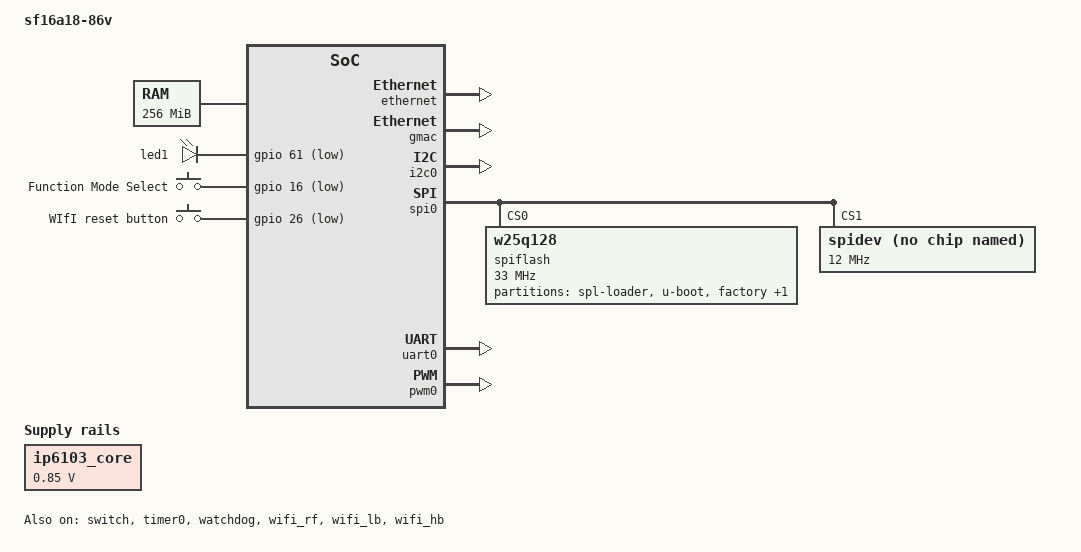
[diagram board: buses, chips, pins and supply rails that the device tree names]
/dts-v1/;

#include "sf16a18_full_mask.dtsi"

/ {
	#address-cells = <1>;
	#size-cells = <1>;
	compatible = "siflower,sf16a18-soc";

	model = "sf16a18-86v";
	memory {
		device_type = "memory";
		reg =  <0x00000000 0x10000000>;
	};
};

&ethernet {
	shutdown-portlist = "lllll";
	led-on-off-time = /bits/ 16 <0xff 0x2ff>;
	status = "okay";
};

&switch{
	sfax8,port-map = "llllw";
	status = "okay";
};

&gmac {
	status = "okay";
};

&gdma {
	status = "okay";
};

&i2c0 {
	status = "okay";
	#address-cells = <1>;
	#size-cells = <0>;
	/include/	"sf16a18_pmu.dtsi"
};
&ip6103_core{
	regulator-name = "VDD_CORE_0.9V";
	regulator-min-microvolt = <850000>;
	regulator-max-microvolt = <850000>;
	regulator-min-microamp = <3000000>;
	regulator-max-microamp = <3000000>;
	regulator-always-on;
	regulator-boot-on;
};

&leds {
	status = "okay";
	led1 {
		label = "led1";
		gpios = <&gpio 61 1>;
		default-state = "on";
	};
};

&gpio_keys {
	status = "okay";
	button1@16 {
		label = "Function Mode Select";
		/*linux,input-type = <0x5>;*/
		linux,code = <0x102>;
		gpios = <&gpio 16 1>;
		poll-interval = <10>;
		debounce-interval = <20>;
	};

	button2@26 {
		label = "WIfI reset button";
		linux,code = <0x101>;
		gpios = <&gpio 26 1>;
		poll-interval = <10>;
		debounce-interval = <20>;
	};
};

&spi0 {
	status = "okay";
	use-dma;
	dmas = <&gdma 10
	&gdma 11>;
	dma-names = "tx", "rx";

	#address-cells = <1>;
	#size-cells = <0>;

	spiflash:w25q128@0 {
		compatible = "w25q128";
		reg = <0>;	/* chip select */
		spi-max-frequency = <33000000>;

		bank-width = <2>;
		device-width = <2>;
		#address-cells = <1>;
		#size-cells = <1>;

		partition@0 {
			label = "spl-loader";
			reg = <0x0 0x8000>; /* 32k */
			read-only;
		};

		partition@8000{
			label = "u-boot";
			reg = <0x8000 0x29000>; /* 164k */
		};

		factory:partition@31000 {
			label = "factory";
			reg = <0x31000 0x1000>; /* 4k */
		};

		partition@32000 {
			label = "firmware";
			#reg = <0x32000 0x3CE000>; /* 200k-4M */
			reg = <0x32000 0x760000>;
		};
	};

	spidev: spi@8200000 {
		compatible = "rohm,dh2228fv";
		reg = <1>;
		clock = <50000000>;
		spi-cpha;
		spi-cpol;
		spi-max-frequency=<12000000>;
	};
};

&uart0 {
	status = "okay";
};

&pwm0 {
	status = "okay";
};

&timer0 {
	status = "okay";
};

&watchdog {
	status = "okay";
};

&wifi_rf {
	status = "okay";
};

&wifi_lb {
	status = "okay";
};

&wifi_hb {
	status = "okay";
};

&cpu0 {
	operating-points = <
		/* kHz    uV(dummy) */
		/*800000 900000
		672000 875000
		600000 875000
		550000 875000
		*/500000 850000
		450000 850000
		400000 850000
		350000 850000
		336000 850000
		300000 850000
		250000 850000
		200000 850000
		150000 850000
		100000 850000
	>;
};
&cpu1 {
	operating-points = <
		/* kHz    uV(dummy) */
		/*800000 900000
		672000 875000
		600000 875000
		550000 875000
		*/500000 850000
		450000 850000
		400000 850000
		350000 850000
		336000 850000
		300000 850000
		250000 850000
		200000 850000
		150000 850000
		100000 850000
	>;
};
&cpu2 {
	operating-points = <
		/* kHz    uV(dummy) */
		/*800000 900000
		672000 875000
		600000 875000
		550000 875000
		*/500000 850000
		450000 850000
		400000 850000
		350000 850000
		336000 850000
		300000 850000
		250000 850000
		200000 850000
		150000 850000
		100000 850000
	>;
};
&cpu3 {
	operating-points = <
		/* kHz    uV(dummy) */
		/*800000 900000
		672000 875000
		600000 875000
		550000 875000
		*/500000 850000
		450000 850000
		400000 850000
		350000 850000
		336000 850000
		300000 850000
		250000 850000
		200000 850000
		150000 850000
		100000 850000
	>;
};

&ip6103_vdd18 {
	regulator-compatible = "null";
};

&ip6103_rfpa_en {
	regulator-compatible = "null";
};

&ip6103_ldo6_32khz {
	regulator-compatible = "null";
};
